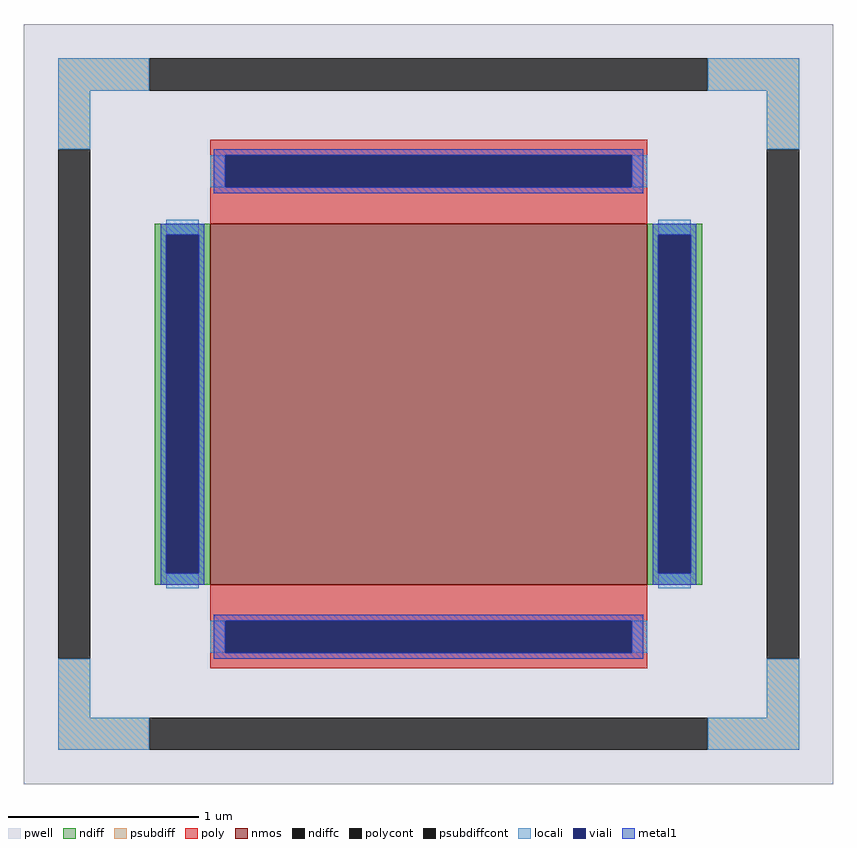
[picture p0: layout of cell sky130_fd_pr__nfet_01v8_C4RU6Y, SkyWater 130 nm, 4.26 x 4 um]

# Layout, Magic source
magic
tech sky130A
<< pwell >>
rect -213 -200 213 200
<< nmos >>
rect -115 -95 115 95
<< ndiff >>
rect -144 89 -115 95
rect -144 -89 -138 89
rect -121 -89 -115 89
rect -144 -95 -115 -89
rect 115 89 144 95
rect 115 -89 121 89
rect 138 -89 144 89
rect 115 -95 144 -89
<< ndiffc >>
rect -138 -89 -121 89
rect 121 -89 138 89
<< psubdiff >>
rect -195 165 -147 182
rect 147 165 195 182
rect -195 134 -178 165
rect 178 134 195 165
rect -195 -165 -178 -134
rect 178 -165 195 -134
rect -195 -182 -147 -165
rect 147 -182 195 -165
<< psubdiffcont >>
rect -147 165 147 182
rect -195 -134 -178 134
rect 178 -134 195 134
rect -147 -182 147 -165
<< poly >>
rect -115 131 115 139
rect -115 114 -107 131
rect 107 114 115 131
rect -115 95 115 114
rect -115 -114 115 -95
rect -115 -131 -107 -114
rect 107 -131 115 -114
rect -115 -139 115 -131
<< polycont >>
rect -107 114 107 131
rect -107 -131 107 -114
<< locali >>
rect -195 165 -147 182
rect 147 165 195 182
rect -195 134 -178 165
rect 178 134 195 165
rect -115 114 -107 131
rect 107 114 115 131
rect -138 89 -121 97
rect -138 -97 -121 -89
rect 121 89 138 97
rect 121 -97 138 -89
rect -115 -131 -107 -114
rect 107 -131 115 -114
rect -195 -165 -178 -134
rect 178 -165 195 -134
rect -195 -182 -147 -165
rect 147 -182 195 -165
<< viali >>
rect -107 114 107 131
rect -138 -89 -121 89
rect 121 -89 138 89
rect -107 -131 107 -114
<< metal1 >>
rect -113 131 113 134
rect -113 114 -107 131
rect 107 114 113 131
rect -113 111 113 114
rect -141 89 -118 95
rect -141 -89 -138 89
rect -121 -89 -118 89
rect -141 -95 -118 -89
rect 118 89 141 95
rect 118 -89 121 89
rect 138 -89 141 89
rect 118 -95 141 -89
rect -113 -114 113 -111
rect -113 -131 -107 -114
rect 107 -131 113 -114
rect -113 -134 113 -131
<< properties >>
string FIXED_BBOX -186 -173 186 173
string gencell sky130_fd_pr__nfet_01v8
string library sky130
string parameters w 1.9 l 2.3 m 1 nf 1 diffcov 100 polycov 100 guard 1 glc 1 grc 1 gtc 1 gbc 1 tbcov 100 rlcov 100 topc 1 botc 1 poverlap 0 doverlap 1 lmin 0.15 wmin 0.42 compatible {sky130_fd_pr__nfet_01v8 sky130_fd_pr__nfet_01v8_lvt  sky130_fd_bs_flash__special_sonosfet_star  sky130_fd_pr__nfet_g5v0d10v5 sky130_fd_pr__nfet_05v0_nvt  sky130_fd_pr__nfet_03v3_nvt} full_metal 1 viasrc 100 viadrn 100 viagate 100 viagb 0 viagr 0 viagl 0 viagt 0
<< end >>
